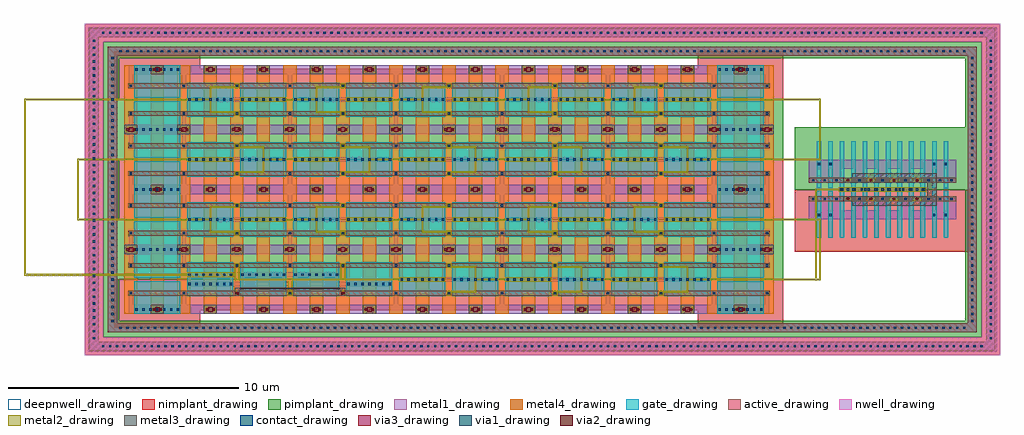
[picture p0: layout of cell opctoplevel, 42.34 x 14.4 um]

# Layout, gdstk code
from math import pi, radians
import gdstk
lib = gdstk.Library(unit=1e-6, precision=1e-09)
def R(c, l, rs):  # rectangles x0, y0, x1, y1
    for r in rs: c.add(gdstk.rectangle(r[:2], r[2:], *l))
def A(c, l, x, y, w, h, nx, ny, dx, dy):  # array of equal rectangles
    R(c, l, [(x+i*dx, y+j*dy, x+i*dx+w, y+j*dy+h) for i in range(nx) for j in range(ny)])
def P(c, l, *ps):  # polygons
    for p in ps: c.add(gdstk.Polygon(p, *l))
active_drawing = (1, 0)
nwell_drawing = (3, 0)
pimplant_drawing = (4, 0)
nimplant_drawing = (5, 0)
gate_drawing = (6, 0)
contact_drawing = (7, 0)
metal1_drawing = (8, 0)
via1_drawing = (9, 0)
metal2_drawing = (10, 0)
via2_drawing = (11, 0)
metal3_drawing = (12, 0)
via3_drawing = (13, 0)
metal4_drawing = (14, 0)
deepnwell_drawing = (33, 0)

dummy = lib.new_cell('dummy')
R(dummy, active_drawing, [(-0.26,0,2.26,0.2), (-0.26,1.2,2.26,1.4)])
R(dummy, pimplant_drawing, [(-0.86,0.7,2.86,2.8)])
R(dummy, nimplant_drawing, [(-0.86,-1.4,2.86,0.7)])
R(dummy, gate_drawing, [(0,-0.8,2,0.62), (0,0.78,2,2.2)])
A(dummy, contact_drawing, 0.05, -0.65, 0.1, 0.1, 7, 2, 0.3, 2.6)
R(dummy, contact_drawing, [(-0.2,0.05,-0.1,0.15), (2.1,0.05,2.2,0.15), (-0.2,1.25,-0.1,1.35), (2.1,1.25,2.2,1.35)])
R(dummy, metal1_drawing, [(-0.25,-0.8,2.25,-0.4), (0,-0.8,2,-0.4), (0.712,-0.8,1.288,-0.4), (-0.25,-0.4,-0.05,0), (2.05,-0.4,2.25,0), (-0.25,0,-0.05,0.2), (2.05,0,2.25,0.2), (-0.25,1.2,-0.05,1.4), (2.05,1.2,2.25,1.4), (-0.25,1.4,-0.05,1.8), (2.05,1.4,2.25,1.8), (-0.438,1.8,0.138,2.2), (-0.25,1.8,2.25,2.2), (0,1.8,2,2.2), (1.862,1.8,2.438,2.2)])
R(dummy, via1_drawing, [(0.8,-0.65,0.9,-0.55), (1.1,-0.65,1.2,-0.55), (-0.35,1.95,-0.25,2.05), (-0.05,1.95,0.05,2.05), (1.95,1.95,2.05,2.05), (2.25,1.95,2.35,2.05)])
R(dummy, metal2_drawing, [(0.712,-0.8,1.288,-0.4), (-0.438,1.8,0.138,2.2), (1.862,1.8,2.438,2.2)])
R(dummy, via2_drawing, [(0.8,-0.65,0.9,-0.55), (1.1,-0.65,1.2,-0.55), (-0.35,1.95,-0.25,2.05), (-0.05,1.95,0.05,2.05), (1.95,1.95,2.05,2.05), (2.25,1.95,2.35,2.05)])
R(dummy, metal3_drawing, [(0.712,-0.8,1.288,-0.4), (-0.438,1.8,0.138,2.2), (1.862,1.8,2.438,2.2)])
R(dummy, via3_drawing, [(0.9,-0.7,1.1,-0.5), (-0.25,1.9,-0.05,2.1), (2.05,1.9,2.25,2.1)])
A(dummy, metal4_drawing, -0.438, -0.8, 0.576, 3, 3, 1, 1.15, 0)
R(dummy, metal4_drawing, [(0.712,-0.8,1.288,-0.4), (-0.438,1.8,0.138,2.2), (1.862,1.8,2.438,2.2)])

nand = lib.new_cell('nand')
A(nand, active_drawing, -0.26, 0, 2.52, 0.2, 4, 2, 2.3, 1.2)
A(nand, pimplant_drawing, -0.86, 0.7, 3.72, 1.34, 4, 1, 2.3, 0)
A(nand, nimplant_drawing, -0.86, -0.64, 3.72, 1.34, 4, 1, 2.3, 0)
A(nand, gate_drawing, 0, 0.7, 2, 0.74, 4, 1, 2.3, 0)
R(nand, gate_drawing, [(0,-0.04,2,0.7), (2.3,-0.04,4.3,1), (4.6,-0.04,6.6,1), (6.9,-0.04,8.9,0.7)])
A(nand, contact_drawing, -0.2, 0.05, 0.1, 0.1, 5, 2, 2.3, 1.2)
A(nand, contact_drawing, 0.05, 0.45, 0.1, 0.1, 7, 1, 0.3, 0)
A(nand, contact_drawing, 6.95, 0.45, 0.1, 0.1, 7, 1, 0.3, 0)
A(nand, contact_drawing, 2.35, 0.85, 0.1, 0.1, 7, 1, 0.3, 0)
A(nand, contact_drawing, 4.65, 0.85, 0.1, 0.1, 7, 1, 0.3, 0)
A(nand, metal1_drawing, 0.712, -0.8, 0.576, 0.4, 4, 1, 2.3, 0)
A(nand, metal1_drawing, 0, 0.8, 2, 0.2, 3, 1, 2.3, 0)
A(nand, metal1_drawing, 2.05, 1.2, 0.2, 0.2, 3, 1, 2.3, 0)
A(nand, metal1_drawing, -0.25, 1.4, 0.2, 0.4, 3, 1, 4.6, 0)
R(nand, metal1_drawing, [(-0.25,-0.8,9.15,-0.4), (-0.25,-0.4,-0.05,0), (8.95,-0.4,9.15,0), (-0.25,0,-0.05,0.2), (2.05,0,2.25,0.2), (2.05,0,2.25,0.2), (4.35,0,4.55,0.2), (4.35,0,4.55,0.2), (6.65,0,6.85,0.2), (6.65,0,6.85,0.2), (8.95,0,9.15,0.2), (0,0.4,2,0.6), (0,0.4,8.9,0.6), (6.9,0.4,8.9,0.6), (0,0.8,2.3,1), (2.3,0.8,6.6,1), (-0.25,1.2,-0.05,1.4), (2.05,1.2,2.25,1.4), (6.65,1.2,6.85,1.4), (8.95,1.2,9.15,1.4), (-0.438,1.8,0.138,2.2), (-0.25,1.8,9.15,2.2), (1.862,1.8,2.438,2.2), (1.862,1.8,2.438,2.2), (4.162,1.8,4.738,2.2), (4.162,1.8,4.738,2.2), (6.462,1.8,7.038,2.2), (6.462,1.8,7.038,2.2), (8.762,1.8,9.338,2.2)])
A(nand, via1_drawing, 2.1, 0.05, 0.1, 0.1, 3, 1, 2.3, 0)
A(nand, via1_drawing, 0.05, 0.85, 0.1, 0.1, 7, 1, 0.3, 0)
R(nand, via1_drawing, [(0.8,-0.65,0.9,-0.55), (1.1,-0.65,1.2,-0.55), (3.1,-0.65,3.2,-0.55), (3.4,-0.65,3.5,-0.55), (5.4,-0.65,5.5,-0.55), (5.7,-0.65,5.8,-0.55), (7.7,-0.65,7.8,-0.55), (8,-0.65,8.1,-0.55), (2.1,1.25,2.2,1.35), (6.7,1.25,6.8,1.35), (-0.35,1.95,-0.25,2.05), (-0.05,1.95,0.05,2.05), (1.95,1.95,2.05,2.05), (1.95,1.95,2.05,2.05), (2.25,1.95,2.35,2.05), (2.25,1.95,2.35,2.05), (4.25,1.95,4.35,2.05), (4.25,1.95,4.35,2.05), (4.55,1.95,4.65,2.05), (4.55,1.95,4.65,2.05), (6.55,1.95,6.65,2.05), (6.55,1.95,6.65,2.05), (6.85,1.95,6.95,2.05), (6.85,1.95,6.95,2.05), (8.85,1.95,8.95,2.05), (9.15,1.95,9.25,2.05)])
A(nand, metal2_drawing, 0.712, -0.8, 0.576, 0.4, 4, 1, 2.3, 0)
A(nand, metal2_drawing, 2.05, 0, 0.2, 0.2, 3, 1, 2.3, 0)
R(nand, metal2_drawing, [(4.35,0.2,4.55,0.665), (2.05,0.665,6.85,0.735), (2.05,0.735,2.25,1.2), (6.65,0.735,6.85,1.2), (0,0.8,2,1), (2.05,1.2,2.25,1.4), (6.65,1.2,6.85,1.4), (-0.438,1.8,0.138,2.2), (1.862,1.8,2.438,2.2), (1.862,1.8,2.438,2.2), (4.162,1.8,4.738,2.2), (4.162,1.8,4.738,2.2), (6.462,1.8,7.038,2.2), (6.462,1.8,7.038,2.2), (8.762,1.8,9.338,2.2)])
R(nand, via2_drawing, [(0.8,-0.65,0.9,-0.55), (1.1,-0.65,1.2,-0.55), (3.1,-0.65,3.2,-0.55), (3.4,-0.65,3.5,-0.55), (5.4,-0.65,5.5,-0.55), (5.7,-0.65,5.8,-0.55), (7.7,-0.65,7.8,-0.55), (8,-0.65,8.1,-0.55), (2.1,0.05,2.2,0.15), (6.7,0.05,6.8,0.15), (-0.35,1.95,-0.25,2.05), (-0.05,1.95,0.05,2.05), (1.95,1.95,2.05,2.05), (1.95,1.95,2.05,2.05), (2.25,1.95,2.35,2.05), (2.25,1.95,2.35,2.05), (4.25,1.95,4.35,2.05), (4.25,1.95,4.35,2.05), (4.55,1.95,4.65,2.05), (4.55,1.95,4.65,2.05), (6.55,1.95,6.65,2.05), (6.55,1.95,6.65,2.05), (6.85,1.95,6.95,2.05), (6.85,1.95,6.95,2.05), (8.85,1.95,8.95,2.05), (9.15,1.95,9.25,2.05)])
A(nand, metal3_drawing, 0.712, -0.8, 0.576, 0.4, 4, 1, 2.3, 0)
R(nand, metal3_drawing, [(2.05,0,2.25,0.2), (6.65,0,6.85,0.2), (2.05,0.2,2.25,0.27), (6.65,0.2,6.85,0.27), (2.05,0.27,6.85,0.34), (-0.438,1.8,0.138,2.2), (1.862,1.8,2.438,2.2), (1.862,1.8,2.438,2.2), (4.162,1.8,4.738,2.2), (4.162,1.8,4.738,2.2), (6.462,1.8,7.038,2.2), (6.462,1.8,7.038,2.2), (8.762,1.8,9.338,2.2)])
A(nand, via3_drawing, 0.9, -0.7, 0.2, 0.2, 4, 1, 2.3, 0)
R(nand, via3_drawing, [(-0.25,1.9,-0.05,2.1), (2.05,1.9,2.25,2.1), (2.05,1.9,2.25,2.1), (4.35,1.9,4.55,2.1), (4.35,1.9,4.55,2.1), (6.65,1.9,6.85,2.1), (6.65,1.9,6.85,2.1), (8.95,1.9,9.15,2.1)])
A(nand, metal4_drawing, -0.438, -0.8, 0.576, 3, 3, 1, 1.15, 0)
A(nand, metal4_drawing, 0.712, -0.8, 0.576, 0.4, 4, 1, 2.3, 0)
A(nand, metal4_drawing, 1.862, -0.8, 0.576, 3, 3, 1, 1.15, 0)
A(nand, metal4_drawing, 4.162, -0.8, 0.576, 3, 3, 1, 1.15, 0)
A(nand, metal4_drawing, 6.462, -0.8, 0.576, 3, 3, 1, 1.15, 0)
R(nand, metal4_drawing, [(-0.438,1.8,0.138,2.2), (1.862,1.8,2.438,2.2), (1.862,1.8,2.438,2.2), (4.162,1.8,4.738,2.2), (4.162,1.8,4.738,2.2), (6.462,1.8,7.038,2.2), (6.462,1.8,7.038,2.2), (8.762,1.8,9.338,2.2)])

inverter = lib.new_cell('inverter')
R(inverter, active_drawing, [(-0.26,0,2.26,0.2), (2.04,0,4.56,0.2), (-0.26,1.2,2.26,1.4), (2.04,1.2,4.56,1.4)])
R(inverter, pimplant_drawing, [(-0.86,0.7,2.86,2.04), (1.44,0.7,5.16,2.04)])
R(inverter, nimplant_drawing, [(-0.86,-0.64,2.86,0.7), (1.44,-0.64,5.16,0.7)])
R(inverter, gate_drawing, [(0,-0.04,2,0.8), (2.3,-0.04,4.3,0.8), (0,0.7,2,1.44), (2.3,0.7,4.3,1.44)])
A(inverter, contact_drawing, -0.2, 0.05, 0.1, 0.1, 3, 2, 2.3, 1.2)
A(inverter, contact_drawing, 0.05, 0.65, 0.1, 0.1, 7, 1, 0.3, 0)
A(inverter, contact_drawing, 2.35, 0.65, 0.1, 0.1, 7, 1, 0.3, 0)
A(inverter, metal1_drawing, -0.25, 0, 0.2, 0.2, 3, 2, 2.3, 1.2)
R(inverter, metal1_drawing, [(-0.25,-0.8,4.55,-0.4), (0.712,-0.8,1.288,-0.4), (3.012,-0.8,3.588,-0.4), (-0.25,-0.4,-0.05,0), (4.35,-0.4,4.55,0), (0,0.6,2,0.8), (0,0.6,2,0.8), (0,0.6,4.3,0.8), (2.3,0.6,4.3,0.8), (-0.25,1.4,-0.05,1.8), (4.35,1.4,4.55,1.8), (-0.438,1.8,0.138,2.2), (-0.25,1.8,4.55,2.2), (1.862,1.8,2.438,2.2), (1.862,1.8,2.438,2.2), (4.162,1.8,4.738,2.2)])
A(inverter, via1_drawing, 0.05, 0.65, 0.1, 0.1, 7, 1, 0.3, 0)
R(inverter, via1_drawing, [(0.8,-0.65,0.9,-0.55), (1.1,-0.65,1.2,-0.55), (3.1,-0.65,3.2,-0.55), (3.4,-0.65,3.5,-0.55), (2.1,0.05,2.2,0.15), (2.1,1.25,2.2,1.35), (-0.35,1.95,-0.25,2.05), (-0.05,1.95,0.05,2.05), (1.95,1.95,2.05,2.05), (1.95,1.95,2.05,2.05), (2.25,1.95,2.35,2.05), (2.25,1.95,2.35,2.05), (4.25,1.95,4.35,2.05), (4.55,1.95,4.65,2.05)])
R(inverter, metal2_drawing, [(0.712,-0.8,1.288,-0.4), (3.012,-0.8,3.588,-0.4), (2.05,0,2.25,0.2), (0,0.6,2,0.8), (2.05,1.2,2.25,1.4), (-0.438,1.8,0.138,2.2), (1.862,1.8,2.438,2.2), (1.862,1.8,2.438,2.2), (4.162,1.8,4.738,2.2)])
R(inverter, via2_drawing, [(0.8,-0.65,0.9,-0.55), (1.1,-0.65,1.2,-0.55), (3.1,-0.65,3.2,-0.55), (3.4,-0.65,3.5,-0.55), (-0.35,1.95,-0.25,2.05), (-0.05,1.95,0.05,2.05), (1.95,1.95,2.05,2.05), (1.95,1.95,2.05,2.05), (2.25,1.95,2.35,2.05), (2.25,1.95,2.35,2.05), (4.25,1.95,4.35,2.05), (4.55,1.95,4.65,2.05)])
R(inverter, metal3_drawing, [(0.712,-0.8,1.288,-0.4), (3.012,-0.8,3.588,-0.4), (-0.438,1.8,0.138,2.2), (1.862,1.8,2.438,2.2), (1.862,1.8,2.438,2.2), (4.162,1.8,4.738,2.2)])
R(inverter, via3_drawing, [(0.9,-0.7,1.1,-0.5), (3.2,-0.7,3.4,-0.5), (-0.25,1.9,-0.05,2.1), (2.05,1.9,2.25,2.1), (2.05,1.9,2.25,2.1), (4.35,1.9,4.55,2.1)])
A(inverter, metal4_drawing, -0.438, -0.8, 0.576, 3, 3, 1, 1.15, 0)
A(inverter, metal4_drawing, 1.862, -0.8, 0.576, 3, 3, 1, 1.15, 0)
R(inverter, metal4_drawing, [(0.712,-0.8,1.288,-0.4), (3.012,-0.8,3.588,-0.4), (-0.438,1.8,0.138,2.2), (1.862,1.8,2.438,2.2), (1.862,1.8,2.438,2.2), (4.162,1.8,4.738,2.2)])
inverter.add(gdstk.FlexPath([(2.25,1.235),(3.3,1.235),(3.3,0.165),(2.25,0.165)], 0.07, ends="flush", simple_path=True, layer=10, datatype=0))  # metal2_drawing

buffer = lib.new_cell('buffer')
A(buffer, active_drawing, -0.35, 0, 0.9, 0.2, 12, 2, 0.5, 0.8)
A(buffer, pimplant_drawing, -0.95, 0.5, 2.1, 2.7, 12, 1, 0.5, 0)
A(buffer, nimplant_drawing, -0.95, -2.2, 2.1, 2.7, 12, 1, 0.5, 0)
A(buffer, gate_drawing, 1, -1.6, 0.2, 2.2, 8, 1, 0.5, 0)
A(buffer, gate_drawing, 1, 0.5, 0.2, 2.1, 8, 1, 0.5, 0)
R(buffer, gate_drawing, [(0,-1.6,0.2,0.45), (0.5,-1.6,0.7,0.45), (5,-1.6,5.2,0.45), (5.5,-1.6,5.7,0.45), (0,0.55,0.2,2.6), (0.5,0.55,0.7,2.6), (5,0.55,5.2,2.6), (5.5,0.55,5.7,2.6)])
A(buffer, contact_drawing, -0.2, 0.05, 0.1, 0.1, 13, 2, 0.5, 0.8)
A(buffer, contact_drawing, 1.05, 0.45, 0.1, 0.1, 8, 1, 0.5, 0)
R(buffer, contact_drawing, [(0.05,-0.65,0.15,-0.55), (0.55,-0.65,0.65,-0.55), (5.05,-0.65,5.15,-0.55), (5.55,-0.65,5.65,-0.55), (0.05,1.55,0.15,1.65), (0.55,1.55,0.65,1.65), (5.05,1.55,5.15,1.65), (5.55,1.55,5.65,1.65)])
A(buffer, metal1_drawing, -0.35, -0.4, 0.4, 0.4, 3, 2, 0.5, 1.4)
A(buffer, metal1_drawing, 1.65, -0.4, 0.4, 0.4, 4, 2, 1, 1.4)
A(buffer, metal1_drawing, -0.35, 0, 0.4, 0.2, 13, 2, 0.5, 0.8)
A(buffer, metal1_drawing, 1, 0.4, 0.2, 0.2, 8, 1, 0.5, 0)
R(buffer, metal1_drawing, [(-0.35,-0.8,6.05,-0.4), (0,-0.8,0.2,-0.4), (0.5,-0.8,0.7,-0.4), (5,-0.8,5.2,-0.4), (5.5,-0.8,5.7,-0.4), (5.15,-0.4,5.55,0), (5.65,-0.4,6.05,0), (0.95,0.4,4.75,0.6), (5.15,1,5.55,1.4), (5.65,1,6.05,1.4), (-0.35,1.4,6.05,1.8), (0,1.4,0.2,1.8), (0.5,1.4,0.7,1.8), (5,1.4,5.2,1.8), (5.5,1.4,5.7,1.8)])
A(buffer, via1_drawing, 1.3, 0.05, 0.1, 0.1, 4, 2, 1, 0.8)
A(buffer, via1_drawing, 1, 0.45, 0.1, 0.1, 13, 1, 0.3, 0)
A(buffer, metal2_drawing, 1.15, 0, 0.4, 0.2, 4, 2, 1, 0.8)
R(buffer, metal2_drawing, [(0.95,0.4,4.75,0.6)])
A(buffer, via2_drawing, 1.3, 0.05, 0.1, 0.1, 4, 2, 1, 0.8)
A(buffer, metal3_drawing, 1.15, 0, 0.4, 0.2, 4, 2, 1, 0.8)
buffer.add(gdstk.FlexPath([(1.55,1),(5,1),(5,0),(1.55,0)], 0.4, ends="flush", simple_path=True, layer=12, datatype=0))  # metal3_drawing

opctoplevel = lib.new_cell('opctoplevel')
R(opctoplevel, active_drawing, [(-1.95,-2.4,37.36,-2), (-1.95,-2.4,-1.55,11.6), (36.96,-2.4,37.36,11.6), (-1.15,-1.6,36.56,-1.2), (-1.15,-1.6,-0.75,10.8), (36.16,-1.6,36.56,10.8), (-1.15,10.4,36.56,10.8), (-1.95,11.2,37.36,11.6)])
P(opctoplevel, nwell_drawing, [(-2.15,-2.6),(37.56,-2.6),(37.56,11.8),(-2.15,11.8),(-2.15,-1.8),(-1.35,-1.8),(-1.35,11),(36.76,11),(36.76,-1.8),(-2.15,-1.8)])
R(opctoplevel, pimplant_drawing, [(-1.35,-1.8,36.76,-1.1), (-1.35,-1.8,-0.65,11), (36.06,-1.8,36.76,11), (-1.35,10.3,36.76,11)])
R(opctoplevel, nimplant_drawing, [(-2.15,-2.6,37.56,-1.8), (-2.15,-2.6,-1.35,11.8), (36.76,-2.6,37.56,11.8), (-2.15,11,37.56,11.8)])
A(opctoplevel, contact_drawing, -1.395, -2.25, 0.1, 0.1, 128, 2, 0.3, 13.6)
A(opctoplevel, contact_drawing, -1.8, -1.9, 0.1, 0.1, 1, 44, 0, 0.3)
A(opctoplevel, contact_drawing, 37.11, -1.9, 0.1, 0.1, 1, 44, 0, 0.3)
A(opctoplevel, contact_drawing, -0.645, -1.45, 0.1, 0.1, 123, 2, 0.3, 12)
A(opctoplevel, contact_drawing, -1, -1.15, 0.1, 0.1, 1, 39, 0, 0.3)
A(opctoplevel, contact_drawing, 36.31, -1.15, 0.1, 0.1, 1, 39, 0, 0.3)
R(opctoplevel, metal1_drawing, [(-1.95,-2.4,37.36,-2), (-1.95,-2.4,-1.55,11.6), (36.96,-2.4,37.36,11.6), (-1.15,-1.6,36.56,-1.2), (-1.15,-1.6,-0.75,10.8), (36.16,-1.6,36.56,10.8), (-1.15,10.4,36.56,10.8), (-1.95,11.2,37.36,11.6)])
R(opctoplevel, deepnwell_drawing, [(-2,-2.45,37.41,11.65)])
opctoplevel.add(gdstk.FlexPath([(23.965,0.7),(29.75,0.7),(29.75,3.3),(25,3.3)], 0.07, ends="flush", simple_path=True, layer=10, datatype=0))  # metal2_drawing
opctoplevel.add(gdstk.FlexPath([(3.335,8.5),(-4.75,8.5),(-4.75,0.9),(2.3,0.9)], 0.07, ends="flush", simple_path=True, layer=10, datatype=0))  # metal2_drawing
opctoplevel.add(gdstk.FlexPath([(3.335,3.3),(-2.45,3.3),(-2.45,5.9),(2.3,5.9)], 0.07, ends="flush", simple_path=True, layer=10, datatype=0))  # metal2_drawing
opctoplevel.add(gdstk.FlexPath([(23.965,5.9),(29.75,5.9),(29.75,8.5),(25,8.5)], 0.07, ends="flush", simple_path=True, layer=10, datatype=0))  # metal2_drawing
opctoplevel.add(gdstk.FlexPath([(21.665,3.3),(20.4,3.3)], 0.07, ends="flush", simple_path=True, layer=10, datatype=0))  # metal2_drawing
opctoplevel.add(gdstk.FlexPath([(17.065,3.3),(15.8,3.3)], 0.07, ends="flush", simple_path=True, layer=10, datatype=0))  # metal2_drawing
opctoplevel.add(gdstk.FlexPath([(12.465,3.3),(11.2,3.3)], 0.07, ends="flush", simple_path=True, layer=10, datatype=0))  # metal2_drawing
opctoplevel.add(gdstk.FlexPath([(7.865,3.3),(6.6,3.3)], 0.07, ends="flush", simple_path=True, layer=10, datatype=0))  # metal2_drawing
opctoplevel.add(gdstk.FlexPath([(5.635,5.9),(6.9,5.9)], 0.07, ends="flush", simple_path=True, layer=10, datatype=0))  # metal2_drawing
opctoplevel.add(gdstk.FlexPath([(10.235,5.9),(11.5,5.9)], 0.07, ends="flush", simple_path=True, layer=10, datatype=0))  # metal2_drawing
opctoplevel.add(gdstk.FlexPath([(14.835,5.9),(16.1,5.9)], 0.07, ends="flush", simple_path=True, layer=10, datatype=0))  # metal2_drawing
opctoplevel.add(gdstk.FlexPath([(19.435,5.9),(20.7,5.9)], 0.07, ends="flush", simple_path=True, layer=10, datatype=0))  # metal2_drawing
opctoplevel.add(gdstk.FlexPath([(21.665,8.5),(20.4,8.5)], 0.07, ends="flush", simple_path=True, layer=10, datatype=0))  # metal2_drawing
opctoplevel.add(gdstk.FlexPath([(17.065,8.5),(15.8,8.5)], 0.07, ends="flush", simple_path=True, layer=10, datatype=0))  # metal2_drawing
opctoplevel.add(gdstk.FlexPath([(12.465,8.5),(11.2,8.5)], 0.07, ends="flush", simple_path=True, layer=10, datatype=0))  # metal2_drawing
opctoplevel.add(gdstk.FlexPath([(7.865,8.5),(6.6,8.5)], 0.07, ends="flush", simple_path=True, layer=10, datatype=0))  # metal2_drawing
opctoplevel.add(gdstk.FlexPath([(9.15,0.7),(11.5,0.7)], 0.07, ends="flush", simple_path=True, layer=10, datatype=0))  # metal2_drawing
opctoplevel.add(gdstk.FlexPath([(14.835,0.7),(16.1,0.7)], 0.07, ends="flush", simple_path=True, layer=10, datatype=0))  # metal2_drawing
opctoplevel.add(gdstk.FlexPath([(19.435,0.7),(20.7,0.7)], 0.07, ends="flush", simple_path=True, layer=10, datatype=0))  # metal2_drawing
opctoplevel.add(gdstk.FlexPath([(24.035,0.7),(29.581,0.7),(29.581,4.6),(30.56,4.6)], 0.07, ends="flush", simple_path=True, layer=10, datatype=0))  # metal2_drawing
opctoplevel.add(gdstk.Reference(dummy, (0,0)))
opctoplevel.add(gdstk.Reference(nand, (2.3,0)))
opctoplevel.add(gdstk.Reference(inverter, (11.5,0)))
opctoplevel.add(gdstk.Reference(inverter, (16.1,0)))
opctoplevel.add(gdstk.Reference(inverter, (20.7,0)))
opctoplevel.add(gdstk.Reference(dummy, (27.3,0), rotation=pi, x_reflection=True))
opctoplevel.add(gdstk.Reference(dummy, (0,4), x_reflection=True))
opctoplevel.add(gdstk.Reference(inverter, (6.6,4), rotation=pi))
opctoplevel.add(gdstk.Reference(inverter, (11.2,4), rotation=pi))
opctoplevel.add(gdstk.Reference(inverter, (15.8,4), rotation=pi))
opctoplevel.add(gdstk.Reference(inverter, (20.4,4), rotation=pi))
opctoplevel.add(gdstk.Reference(inverter, (25,4), rotation=pi))
opctoplevel.add(gdstk.Reference(dummy, (27.3,4), rotation=pi))
opctoplevel.add(gdstk.Reference(dummy, (0,5.2)))
opctoplevel.add(gdstk.Reference(inverter, (2.3,5.2)))
opctoplevel.add(gdstk.Reference(inverter, (6.9,5.2)))
opctoplevel.add(gdstk.Reference(inverter, (11.5,5.2)))
opctoplevel.add(gdstk.Reference(inverter, (16.1,5.2)))
opctoplevel.add(gdstk.Reference(inverter, (20.7,5.2)))
opctoplevel.add(gdstk.Reference(dummy, (27.3,5.2), rotation=pi, x_reflection=True))
opctoplevel.add(gdstk.Reference(dummy, (0,9.2), x_reflection=True))
opctoplevel.add(gdstk.Reference(inverter, (6.6,9.2), rotation=pi))
opctoplevel.add(gdstk.Reference(inverter, (11.2,9.2), rotation=pi))
opctoplevel.add(gdstk.Reference(inverter, (15.8,9.2), rotation=pi))
opctoplevel.add(gdstk.Reference(inverter, (20.4,9.2), rotation=pi))
opctoplevel.add(gdstk.Reference(inverter, (25,9.2), rotation=pi))
opctoplevel.add(gdstk.Reference(dummy, (27.3,9.2), rotation=pi))
opctoplevel.add(gdstk.Reference(buffer, (29.61,4.1)))

lib.write_gds('opctoplevel.gds')
